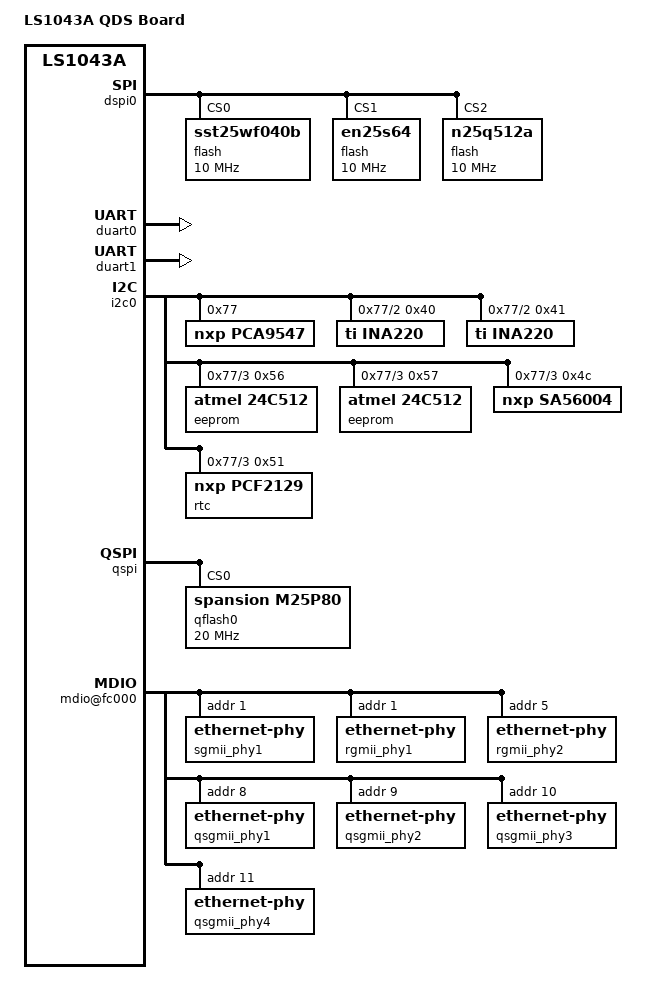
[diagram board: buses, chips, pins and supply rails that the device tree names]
// SPDX-License-Identifier: (GPL-2.0+ OR MIT)
/*
 * Device Tree Include file for Freescale Layerscape-1043A family SoC.
 *
 * Copyright 2014-2015 Freescale Semiconductor, Inc.
 *
 * Mingkai Hu <Mingkai.hu@freescale.com>
 */

/dts-v1/;
#include "fsl-ls1043a.dtsi"

/ {
	model = "LS1043A QDS Board";
	compatible = "fsl,ls1043a-qds", "fsl,ls1043a";

	aliases {
		crypto = &crypto;
		gpio0 = &gpio1;
		gpio1 = &gpio2;
		gpio2 = &gpio3;
		gpio3 = &gpio4;
		serial0 = &duart0;
		serial1 = &duart1;
		serial2 = &duart2;
		serial3 = &duart3;
/*
		sgmii_riser_s1_p1 = &sgmii_phy_s1_p1;
		sgmii_riser_s2_p1 = &sgmii_phy_s2_p1;
		sgmii_riser_s3_p1 = &sgmii_phy_s3_p1;
		sgmii_riser_s4_p1 = &sgmii_phy_s4_p1;
		qsgmii_s1_p1 = &qsgmii_phy_s1_p1;
		qsgmii_s1_p2 = &qsgmii_phy_s1_p2;
		qsgmii_s1_p3 = &qsgmii_phy_s1_p3;
		qsgmii_s1_p4 = &qsgmii_phy_s1_p4;
		qsgmii_s2_p1 = &qsgmii_phy_s2_p1;
		qsgmii_s2_p2 = &qsgmii_phy_s2_p2;
		qsgmii_s2_p3 = &qsgmii_phy_s2_p3;
		qsgmii_s2_p4 = &qsgmii_phy_s2_p4;
		emi1_slot1 = &ls1043mdio_s1;
		emi1_slot2 = &ls1043mdio_s2;
		emi1_slot3 = &ls1043mdio_s3;
		emi1_slot4 = &ls1043mdio_s4;
*/
	};

	chosen {
		stdout-path = "serial0:115200n8";
	};
};

&dspi0 {
	bus-num = <0>;
	status = "okay";

	flash@0 {
		#address-cells = <1>;
		#size-cells = <1>;
		compatible = "sst25wf040b", "jedec,spi-nor";
		spi-cpol;
		spi-cpha;
		reg = <0>;
		spi-max-frequency = <10000000>;
	};

	flash@1 {
		#address-cells = <1>;
		#size-cells = <1>;
		compatible = "en25s64", "jedec,spi-nor";
		spi-cpol;
		spi-cpha;
		reg = <1>;
		spi-max-frequency = <10000000>;
	};

	flash@2 {
		#address-cells = <1>;
		#size-cells = <1>;
		compatible = "n25q512a", "jedec,spi-nor";
		reg = <2>;
		spi-max-frequency = <10000000>;
	};
};

&duart0 {
	status = "okay";
};

&duart1 {
	status = "okay";
};

&i2c0 {
	status = "okay";

	pca9547@77 {
		compatible = "nxp,pca9547";
		reg = <0x77>;
		#address-cells = <1>;
		#size-cells = <0>;

		i2c@2 {
			#address-cells = <1>;
			#size-cells = <0>;
			reg = <0x2>;

			ina220@40 {
				compatible = "ti,ina220";
				reg = <0x40>;
				shunt-resistor = <1000>;
			};

			ina220@41 {
				compatible = "ti,ina220";
				reg = <0x41>;
				shunt-resistor = <1000>;
			};
		};

		i2c@3 {
			#address-cells = <1>;
			#size-cells = <0>;
			reg = <0x3>;

			eeprom@56 {
				compatible = "atmel,24c512";
				reg = <0x56>;
			};

			eeprom@57 {
				compatible = "atmel,24c512";
				reg = <0x57>;
			};

			sa56004@4c {
				compatible = "nxp,sa56004";
				reg = <0x4c>;
			};

			rtc@51 {
				compatible = "nxp,pcf2129";
				reg = <0x51>;
			};
		};
	};
};

&qspi {
	num-cs = <1>;
	bus-num = <0>;
	status = "okay";

	qflash0: s25fs512s@0 {
		compatible = "spansion,m25p80";
		#address-cells = <1>;
		#size-cells = <1>;
		spi-max-frequency = <20000000>;
		m25p,fast-read;
		reg = <0>;
		spi-rx-bus-width = <4>;
		spi-tx-bus-width = <4>;
	};
};

#include "fsl-ls1043-post.dtsi"

&fman0 {
	ethernet@e0000 {
		phy-handle = <&qsgmii_phy1>;
		phy-connection-type = "qsgmii";
	};

	ethernet@e2000 {
		phy-handle = <&qsgmii_phy2>;
		phy-connection-type = "qsgmii";
	};

	ethernet@e4000 {
		phy-handle = <&rgmii_phy1>;
		phy-connection-type = "rgmii";
	};

	ethernet@e6000 {
		phy-handle = <&rgmii_phy2>;
		phy-connection-type = "rgmii";
	};

	ethernet@e8000 {
		phy-handle = <&qsgmii_phy3>;
		phy-connection-type = "qsgmii";
	};

	ethernet@ea000 {
		phy-handle = <&qsgmii_phy4>;
		phy-connection-type = "qsgmii";
	};

	/* fixed-link = <1 1 2500 0 0>; */
	ethernet@f0000 { /* DTSEC9/10GEC1 */
		phy-handle = <&sgmii_phy1>;
		phy-connection-type = "sgmii";
	};

	mdio@fc000 {

		sgmii_phy1: ethernet-phy@1 {
			reg = <0x1>;
		};

		rgmii_phy1: ethernet-phy@1 {
			reg = <0x1>;
		};

		rgmii_phy2: ethernet-phy@5 {
			reg = <0x5>;
		};

		qsgmii_phy1: ethernet-phy@8 {
			reg = <0x8>;
		};

		qsgmii_phy2: ethernet-phy@9 {
			reg = <0x9>;
		};

		qsgmii_phy3: ethernet-phy@a {
			reg = <0xa>;
		};

		qsgmii_phy4: ethernet-phy@b {
			reg = <0xb>;
		};
	};
};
